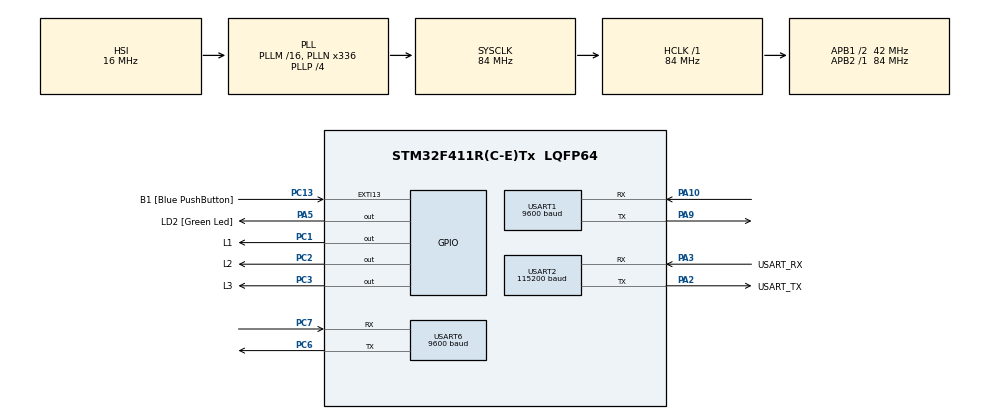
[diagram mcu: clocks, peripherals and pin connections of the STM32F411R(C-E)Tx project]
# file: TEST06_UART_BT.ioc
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Mcu.Family=STM32F4
Mcu.Name=STM32F411R(C-E)Tx
Mcu.Package=LQFP64
NVIC.EXTI15_10_IRQn=true\:0\:0\:false\:false\:true\:true\:true\:true
NVIC.PriorityGroup=NVIC_PRIORITYGROUP_0
NVIC.USART1_IRQn=true\:0\:0\:false\:false\:true\:true\:true\:true
NVIC.USART2_IRQn=true\:0\:0\:false\:false\:true\:true\:true\:true
NVIC.USART6_IRQn=true\:0\:0\:false\:false\:true\:true\:true\:true
PA10.Mode=Asynchronous
PA10.Signal=USART1_RX
PA13.GPIO_Label=TMS
PA13.Mode=Serial_Wire
PA13.Signal=SYS_JTMS-SWDIO
PA14.GPIO_Label=TCK
PA14.Mode=Serial_Wire
PA14.Signal=SYS_JTCK-SWCLK
PA2.GPIO_Label=USART_TX
PA2.Mode=Asynchronous
PA2.Signal=USART2_TX
PA3.GPIO_Label=USART_RX
PA3.Mode=Asynchronous
PA3.Signal=USART2_RX
PA5.GPIO_Label=LD2 [Green Led]
PA5.Signal=GPIO_Output
PA9.Mode=Asynchronous
PA9.Signal=USART1_TX
PB3.GPIO_Label=SWO
PB3.Signal=SYS_JTDO-SWO
PC1.GPIO_Label=L1
PC1.Signal=GPIO_Output
PC13-ANTI_TAMP.GPIO_Label=B1 [Blue PushButton]
PC13-ANTI_TAMP.GPIO_ModeDefaultEXTI=GPIO_MODE_IT_FALLING
PC13-ANTI_TAMP.Signal=GPXTI13
PC14-OSC32_IN.Mode=LSE-External-Oscillator
PC14-OSC32_IN.Signal=RCC_OSC32_IN
PC15-OSC32_OUT.Mode=LSE-External-Oscillator
PC15-OSC32_OUT.Signal=RCC_OSC32_OUT
PC2.GPIO_Label=L2
PC2.Signal=GPIO_Output
PC3.GPIO_Label=L3
PC3.Signal=GPIO_Output
PC6.Mode=Asynchronous
PC6.Signal=USART6_TX
PC7.Mode=Asynchronous
PC7.Signal=USART6_RX
PH0\ -\ OSC_IN.Mode=HSE-External-Clock-Source
PH0\ -\ OSC_IN.Signal=RCC_OSC_IN
PH1\ -\ OSC_OUT.Mode=HSE-External-Clock-Source
PH1\ -\ OSC_OUT.Signal=RCC_OSC_OUT
ProjectManager.HeapSize=0x200
ProjectManager.StackSize=0x400
ProjectManager.TargetToolchain=STM32CubeIDE
RCC.48MHZClocksFreq_Value=84000000
RCC.AHBFreq_Value=84000000
RCC.APB1CLKDivider=RCC_HCLK_DIV2
RCC.APB1Freq_Value=42000000
RCC.APB1TimFreq_Value=84000000
RCC.APB2Freq_Value=84000000
RCC.APB2TimFreq_Value=84000000
RCC.CortexFreq_Value=84000000
RCC.FLatency-AdvancedSettings=FLASH_LATENCY_2
RCC.HCLKFreq_Value=84000000
RCC.HSE_VALUE=8000000
RCC.HSI_VALUE=16000000
RCC.PLLN=336
RCC.PLLP=RCC_PLLP_DIV4
RCC.SYSCLKFreq_VALUE=84000000
RCC.SYSCLKSource=RCC_SYSCLKSOURCE_PLLCLK
RCC.VCOOutputFreq_Value=336000000
USART1.BaudRate=9600
USART1.VirtualMode=VM_ASYNC
USART2.BaudRate=115200
USART2.VirtualMode=VM_ASYNC
USART6.BaudRate=9600
USART6.VirtualMode=VM_ASYNC
board=NUCLEO-F411RE

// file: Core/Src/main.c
/* USER CODE BEGIN Header */
/**
  ******************************************************************************
  * @file           : main.c
  * @brief          : Main program body
  ******************************************************************************
  * @attention
  *
  * Copyright (c) 2024 STMicroelectronics.
  * All rights reserved.
  *
  * This software is licensed under terms that can be found in the LICENSE file
  * in the root directory of this software component.
  * If no LICENSE file comes with this software, it is provided AS-IS.
  *
  ******************************************************************************
  */
#include "Myhead.h"
#include <stdio.h>
/* USER CODE END Header */
#include "main.h"

UART_HandleTypeDef huart1;
UART_HandleTypeDef huart2;
UART_HandleTypeDef huart6;

void SystemClock_Config(void);
static void MX_GPIO_Init(void);
static void MX_USART2_UART_Init(void);
static void MX_USART6_UART_Init(void);
static void MX_USART1_UART_Init(void);

/* USER CODE BEGIN 0 */
void HAL_GPIO_EXTI_Callback(uint16_t GPIO_Pin)
{

}

//extern myBuf buf;
myBuf *buf1, *buf2;
extern myCMDSET myCmd[];

char dum1;
char dum2;
int idx1 = 0, idx2 = 0;
int eol = 3;

void HAL_UART_RxCpltCallback(UART_HandleTypeDef *huart)
{
	if(huart == &huart6)
	{
		buf1->v0[idx1++] = dum1;
		HAL_UART_Receive_IT(&huart6, &dum1, 1);
	}
	else if(huart == &huart2) // keyboart input by teraterm
	{
		if(dum2 == '\r') // [Enter] key
		{
			HAL_UART_Transmit(&huart2, "\r\n", 2, 10); // Echo
			HAL_UART_Transmit(&huart6, buf2, idx2, 100); // redirection to BT
			switch(eol)
			{
			case 1:
				HAL_UART_Transmit(&huart6, "\r\n", 2, 10);
				break;
			case 2:
				HAL_UART_Transmit(&huart6, "\n", 1, 10);
				break;
			case 3:
				HAL_UART_Transmit(&huart6, "\0", 1, 10);
				break;
			}
			HAL_UART_Transmit(&huart6, "\0", 1, 10);
			idx2 = 0;
		}
		else
		{
			HAL_UART_Transmit(&huart2, &dum2, 1, 10); // Echo
			buf2->v0[idx2++] = dum2;
			buf2->v0[idx2] = 0; // NULL
		}
		HAL_UART_Receive_IT(&huart2, &dum2, 1);

	}
}

int CheckCMD(char *b)
{
	for(int i = 0;;i++)
	{
		if(strncmp(b, myCmd[i].key, strlen(myCmd[i].key)) == 0)
		{
			int n = myCmd[i].op_num;
			char *c = b;
			while(*c++) if(*c == ' ') n--;c++;
			if(n == 0) return 1; else return 0;
		}
	}
	return 0;
}

int PARSING(char *b, char *p[])
{
	if(!CheckCMD(b)) return 0;

	int n = 0;
	p[n++] = b;

	for(int i = 0; b[i] != 0; i++)
	{
		if(b[i] == ' ')
		{
			b[i] = 0;
			p[n++] = b + i + 1;
		}
	}
	return n;

//	while(*b)
//	{
//		if(*b == ' ')
//		{
//			*b = '\0';
//			p[n++] = ++b;
//		}
//	}
}

/* USER CODE END 0 */

int main(void)
{

  /* USER CODE BEGIN 1 */
	myBuf b1, b2;
	buf1 = &b1, buf2 = &b2;

  /* USER CODE END 1 */

  /* MCU Configuration--------------------------------------------------------*/

  /* Reset of all peripherals, Initializes the Flash interface and the Systick. */
  HAL_Init();

  /* Configure the system clock */
  SystemClock_Config();

  /* Initialize all configured peripherals */
  MX_GPIO_Init();
  MX_USART2_UART_Init();
  MX_USART6_UART_Init();
  MX_USART1_UART_Init();
  /* USER CODE BEGIN 2 */
  ProgramStart("UART - BLUETOOTH");
  Cursor(1);
  printf("Select EOL \r\n(1:CRLF   2:LF   3:NULL)\r\n");
  setvbuf(stdin, NULL, _IONBF, 0);
//  scanf("%d", &eol);
  HAL_UART_Receive_IT(&huart6, &dum1, 1);
  HAL_UART_Receive_IT(&huart2, &dum2, 1);

  /* USER CODE END 2 */

  /* Infinite loop */
  while (1)
  {

    /* USER CODE BEGIN 3 */
	  if(idx1)
	  {
		  buf1->v0[idx1] = 0;
		  //char a1[10], a2[5], a3[5];
		  char * p[5];
		  int r = PARSING(buf1, p);
		  if(strncmp(p[0], "LED", 3) == 0)
		  {
			  int ln, st;
			  sscanf(p[1], "%d", &ln);
			  st = (strncmp(p[2], "ON", 2) == 0) ? 1 : (strncmp(p[2], "OFF", 3) == 0) ? 0 : -1;
			  switch(ln)
			  {
			  case 1:
				  HAL_GPIO_WritePin(L1_GPIO_Port, L1_Pin, st);
				  break;
			  case 2:
				  HAL_GPIO_WritePin(L2_GPIO_Port, L2_Pin, st);
				  break;
			  case 3:
				  HAL_GPIO_WritePin(L3_GPIO_Port, L3_Pin, st);
				  break;
			  }
			  printf("%s %d had controlled to %d\r\n", p[0], ln, st);
//			  for(int i = 0; i < 20; i++)
//			  {
//				  HAL_GPIO_WritePin(LED_GPIO_Port, LED_Pin, 1);
//				  HAL_Delay(500);
//				  HAL_GPIO_WritePin(LED_GPIO_Port, LED_Pin, 0);
//				  HAL_Delay(500);
//			  }
		  }
		  printf("%s\r\n", buf1);
		  idx1 = 0;
	  }
	  HAL_Delay(500);
  }
  /* USER CODE END 3 */
}

void SystemClock_Config(void)
{
  RCC_OscInitTypeDef RCC_OscInitStruct = {0};
  RCC_ClkInitTypeDef RCC_ClkInitStruct = {0};

  /** Configure the main internal regulator output voltage
  */
  __HAL_RCC_PWR_CLK_ENABLE();
  __HAL_PWR_VOLTAGESCALING_CONFIG(PWR_REGULATOR_VOLTAGE_SCALE1);

  /** Initializes the RCC Oscillators according to the specified parameters
  * in the RCC_OscInitTypeDef structure.
  */
  RCC_OscInitStruct.OscillatorType = RCC_OSCILLATORTYPE_HSI;
  RCC_OscInitStruct.HSIState = RCC_HSI_ON;
  RCC_OscInitStruct.HSICalibrationValue = RCC_HSICALIBRATION_DEFAULT;
  RCC_OscInitStruct.PLL.PLLState = RCC_PLL_ON;
  RCC_OscInitStruct.PLL.PLLSource = RCC_PLLSOURCE_HSI;
  RCC_OscInitStruct.PLL.PLLM = 16;
  RCC_OscInitStruct.PLL.PLLN = 336;
  RCC_OscInitStruct.PLL.PLLP = RCC_PLLP_DIV4;
  RCC_OscInitStruct.PLL.PLLQ = 4;
  if (HAL_RCC_OscConfig(&RCC_OscInitStruct) != HAL_OK)
  {
    Error_Handler();
  }

  /** Initializes the CPU, AHB and APB buses clocks
  */
  RCC_ClkInitStruct.ClockType = RCC_CLOCKTYPE_HCLK|RCC_CLOCKTYPE_SYSCLK
                              |RCC_CLOCKTYPE_PCLK1|RCC_CLOCKTYPE_PCLK2;
  RCC_ClkInitStruct.SYSCLKSource = RCC_SYSCLKSOURCE_PLLCLK;
  RCC_ClkInitStruct.AHBCLKDivider = RCC_SYSCLK_DIV1;
  RCC_ClkInitStruct.APB1CLKDivider = RCC_HCLK_DIV2;
  RCC_ClkInitStruct.APB2CLKDivider = RCC_HCLK_DIV1;

  if (HAL_RCC_ClockConfig(&RCC_ClkInitStruct, FLASH_LATENCY_2) != HAL_OK)
  {
    Error_Handler();
  }
}

static void MX_USART1_UART_Init(void)
{

  huart1.Instance = USART1;
  huart1.Init.BaudRate = 9600;
  huart1.Init.WordLength = UART_WORDLENGTH_8B;
  huart1.Init.StopBits = UART_STOPBITS_1;
  huart1.Init.Parity = UART_PARITY_NONE;
  huart1.Init.Mode = UART_MODE_TX_RX;
  huart1.Init.HwFlowCtl = UART_HWCONTROL_NONE;
  huart1.Init.OverSampling = UART_OVERSAMPLING_16;
  if (HAL_UART_Init(&huart1) != HAL_OK)
  {
    Error_Handler();
  }

}

static void MX_USART2_UART_Init(void)
{

  huart2.Instance = USART2;
  huart2.Init.BaudRate = 115200;
  huart2.Init.WordLength = UART_WORDLENGTH_8B;
  huart2.Init.StopBits = UART_STOPBITS_1;
  huart2.Init.Parity = UART_PARITY_NONE;
  huart2.Init.Mode = UART_MODE_TX_RX;
  huart2.Init.HwFlowCtl = UART_HWCONTROL_NONE;
  huart2.Init.OverSampling = UART_OVERSAMPLING_16;
  if (HAL_UART_Init(&huart2) != HAL_OK)
  {
    Error_Handler();
  }

}

static void MX_USART6_UART_Init(void)
{

  huart6.Instance = USART6;
  huart6.Init.BaudRate = 9600;
  huart6.Init.WordLength = UART_WORDLENGTH_8B;
  huart6.Init.StopBits = UART_STOPBITS_1;
  huart6.Init.Parity = UART_PARITY_NONE;
  huart6.Init.Mode = UART_MODE_TX_RX;
  huart6.Init.HwFlowCtl = UART_HWCONTROL_NONE;
  huart6.Init.OverSampling = UART_OVERSAMPLING_16;
  if (HAL_UART_Init(&huart6) != HAL_OK)
  {
    Error_Handler();
  }

}

static void MX_GPIO_Init(void)
{
  GPIO_InitTypeDef GPIO_InitStruct = {0};

  /* GPIO Ports Clock Enable */
  __HAL_RCC_GPIOC_CLK_ENABLE();
  __HAL_RCC_GPIOH_CLK_ENABLE();
  __HAL_RCC_GPIOA_CLK_ENABLE();
  __HAL_RCC_GPIOB_CLK_ENABLE();

  /*Configure GPIO pin Output Level */
  HAL_GPIO_WritePin(GPIOC, L1_Pin|L2_Pin|L3_Pin, GPIO_PIN_RESET);

  /*Configure GPIO pin Output Level */
  HAL_GPIO_WritePin(LD2_GPIO_Port, LD2_Pin, GPIO_PIN_RESET);

  /*Configure GPIO pin : B1_Pin */
  GPIO_InitStruct.Pin = B1_Pin;
  GPIO_InitStruct.Mode = GPIO_MODE_IT_FALLING;
  GPIO_InitStruct.Pull = GPIO_NOPULL;
  HAL_GPIO_Init(B1_GPIO_Port, &GPIO_InitStruct);

  /*Configure GPIO pins : L1_Pin L2_Pin L3_Pin */
  GPIO_InitStruct.Pin = L1_Pin|L2_Pin|L3_Pin;
  GPIO_InitStruct.Mode = GPIO_MODE_OUTPUT_PP;
  GPIO_InitStruct.Pull = GPIO_NOPULL;
  GPIO_InitStruct.Speed = GPIO_SPEED_FREQ_LOW;
  HAL_GPIO_Init(GPIOC, &GPIO_InitStruct);

  /*Configure GPIO pin : LD2_Pin */
  GPIO_InitStruct.Pin = LD2_Pin;
  GPIO_InitStruct.Mode = GPIO_MODE_OUTPUT_PP;
  GPIO_InitStruct.Pull = GPIO_NOPULL;
  GPIO_InitStruct.Speed = GPIO_SPEED_FREQ_LOW;
  HAL_GPIO_Init(LD2_GPIO_Port, &GPIO_InitStruct);

  /* EXTI interrupt init*/
  HAL_NVIC_SetPriority(EXTI15_10_IRQn, 0, 0);
  HAL_NVIC_EnableIRQ(EXTI15_10_IRQn);

}

void Error_Handler(void)
{
  __disable_irq();
  while (1)
  {
  }
}
